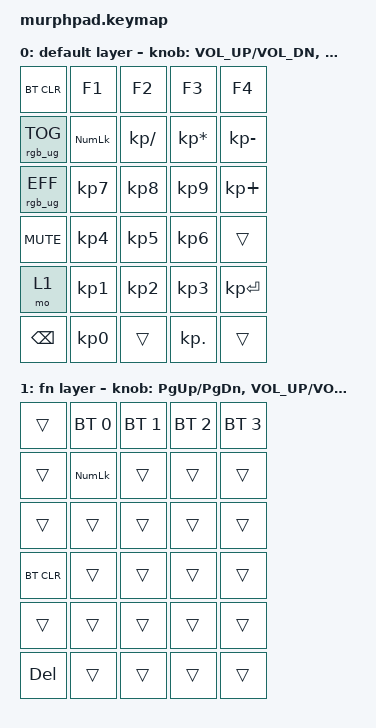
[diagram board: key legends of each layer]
/*
 * Copyright (c) 2021 The ZMK Contributors
 *
 * SPDX-License-Identifier: MIT
 */

#include <behaviors.dtsi>
#include <dt-bindings/zmk/keys.h>
#include <dt-bindings/zmk/bt.h>
#include <dt-bindings/zmk/rgb.h>

#define TIMEOUT 300


&encoder_1 {
	status = "okay";
};

&encoder_2 {
	status = "okay";
};

/ {
	sensors {
		compatible = "zmk,keymap-sensors";
		sensors = <&encoder_1 &encoder_2>;
	};


	keymap0: keymap {
		compatible = "zmk,keymap";

		default_layer {
		label = "default layer";
            bindings = <
                &bt BT_CLR       &kp F1            &kp F2          &kp F3            &kp F4    
                &rgb_ug RGB_TOG  &kp KP_NUMLOCK    &kp KP_DIVIDE   &kp KP_MULTIPLY   &kp KP_MINUS    
                &rgb_ug RGB_EFF  &kp KP_N7         &kp KP_N8       &kp KP_N9         &kp KP_PLUS   
                &kp C_MUTE       &kp KP_N4         &kp KP_N5       &kp KP_N6         &trans
                &mo 1            &kp KP_N1         &kp KP_N2       &kp KP_N3         &kp KP_ENTER
                &kp BSPC         &kp KP_N0         &trans          &kp KP_DOT        &trans
            >;
			sensor-bindings = <&inc_dec_kp C_VOL_UP C_VOL_DN &inc_dec_kp PG_UP PG_DN>;

        }; 


        fn_layer {
		label = "fn layer";
            bindings = <
                &trans        &bt BT_SEL 0    &bt BT_SEL 1    &bt BT_SEL 2    &bt BT_SEL 3 
                &trans        &kp KP_NUM      &trans          &trans          &trans     
                &trans        &trans          &trans          &trans          &trans
                &bt BT_CLR    &trans          &trans          &trans          &trans    
                &trans        &trans          &trans          &trans          &trans
                &kp DEL       &trans          &trans          &trans          &trans           
            >;  
			sensor-bindings = <&inc_dec_kp PG_UP PG_DN &inc_dec_kp C_VOL_UP C_VOL_DN>;
                
        };
    };
}; 
